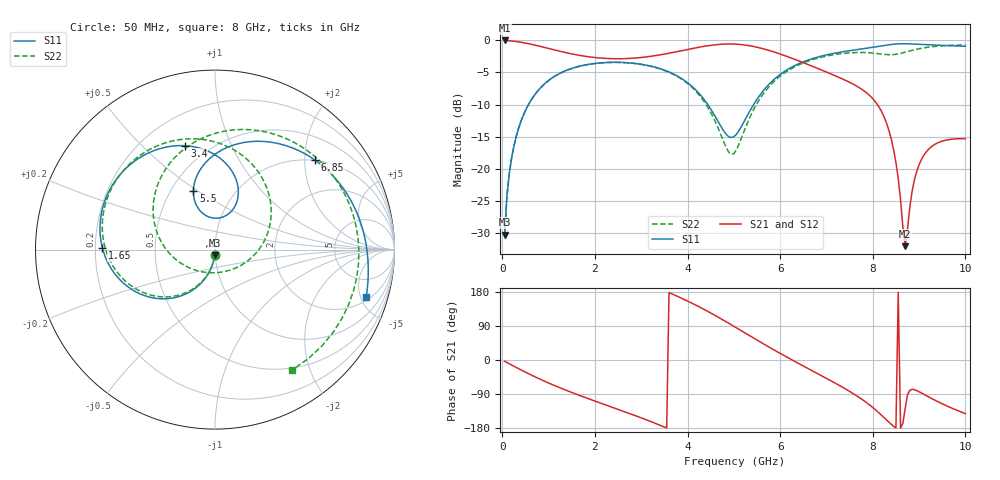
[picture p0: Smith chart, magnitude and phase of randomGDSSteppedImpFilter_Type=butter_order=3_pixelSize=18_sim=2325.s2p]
! freq	dB(S11)	phase(S11)	dB(S12)	phase(S12)
!  dB(S21)	phase(S21)	dB(S22)	phase(S22)
!S-par simulation data
#  GHz  S  DB  R 50
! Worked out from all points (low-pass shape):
!   200 points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, 50 MHz to 10 GHz, reference 50 ohm
!   highest |S21| = -0.01 dB at 50 MHz (marker M1); lowest = -32.1 dB at 8.7 GHz (marker M2)
!   |S21| within 3 dB of the highest: start of sweep to 6.334 GHz
!   lowest |S11| = -30.3 dB at 50 MHz (marker M3), VSWR 1.06, Z = 49.7 - j3.04 ohm
!   |S11| at or under -10 dB: start of sweep to 567.4 MHz; 4.436 GHz to 5.428 GHz (991.9 MHz wide, 20.1 % of centre)
!   |S22| runs from -30.3 to -0.7 dB; largest |S21 - S12| = 0
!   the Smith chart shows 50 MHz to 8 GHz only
!   S11 on the Smith chart (normalised r, x): 50 MHz: 0.99, -0.06; 1.65 GHz: 0.23, +0.01; 3.4 GHz: 0.37, +0.68; 5.5 GHz: 0.65, +0.48; 6.85 GHz: 0.99, +2.25; 8 GHz: 2.31, -5.57
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0.05  -30.28 -93.4  -0.01 -3.3  -0.01 -3.3  -30.28 -93.5
0.2  -18.39 -103.4  -0.09 -13.1  -0.09 -13.1  -18.39 -103.9
0.45  -11.75 -118.9  -0.34 -29.0  -0.34 -29.0  -11.76 -120.2
1  -6.25 -149.7  -1.26 -60.7  -1.26 -60.7  -6.26 -152.7
1.65  -4.06 179.4  -2.31 -92.7  -2.31 -92.7  -4.06 174.3
1.75  -3.89 175.0  -2.43 -97.2  -2.43 -97.2  -3.90 169.5
3.4  -4.39 106.3  -2.27 -171.9  -2.27 -171.9  -4.43 90.3
4.25  -8.28 71.1  -1.06 140.4  -1.06 140.4  -8.51 33.4
5.05  -14.68 100.2  -0.59 85.3  -0.59 85.3  -17.13 -114.8
5.5  -9.18 110.3  -1.06 52.6  -1.06 52.6  -9.84 167.1
6.05  -5.05 85.6  -2.25 14.0  -2.25 14.0  -5.30 117.6
6.7  -2.83 50.0  -4.05 -28.9  -4.05 -28.9  -3.00 69.2
6.85  -2.52 41.8  -4.49 -38.6  -4.49 -38.6  -2.70 58.2
7.55  -1.55 4.9  -6.73 -86.6  -6.73 -86.6  -1.92 -0.2
8  -1.08 -17.5  -9.09 -125.3  -9.09 -125.3  -1.98 -57.3
8.35  -0.68 -35.2  -14.07 -164.3  -14.07 -164.3  -2.23 -129.2
8.55  -0.54 -45.9  -21.57 178.4  -21.57 178.4  -2.11 -178.9
8.7  -0.52 -53.8  -32.10 -128.0  -32.10 -128.0  -1.84 146.3
8.9  -0.57 -63.8  -21.74 -78.4  -21.74 -78.4  -1.45 108.5
9.1  -0.64 -73.3  -17.95 -90.4  -17.95 -90.4  -1.16 80.0
9.5  -0.78 -91.2  -15.71 -115.7  -15.71 -115.7  -0.84 40.9
10  -0.92 -112.6  -15.33 -141.5  -15.33 -141.5  -0.70 8.7
